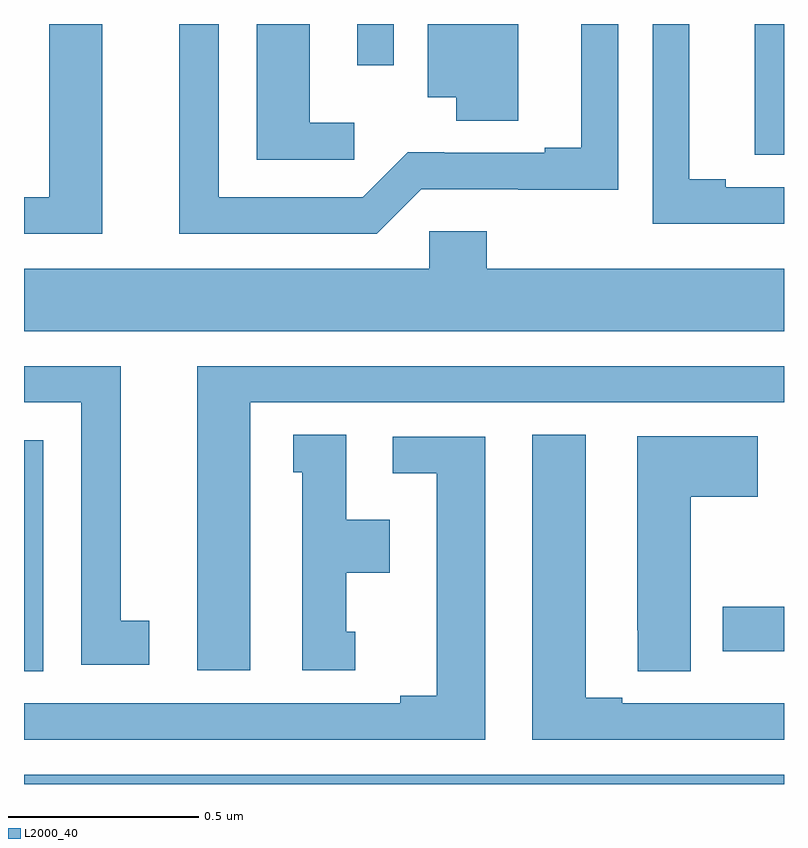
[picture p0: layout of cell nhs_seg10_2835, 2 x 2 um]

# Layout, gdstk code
import gdstk
lib = gdstk.Library(unit=1e-6, precision=1e-09)
def R(c, l, rs):  # rectangles x0, y0, x1, y1
    for r in rs: c.add(gdstk.rectangle(r[:2], r[2:], *l))
def P(c, l, *ps):  # polygons
    for p in ps: c.add(gdstk.Polygon(p, *l))
L2000_40 = (2000, 40)

nhs_seg10_2835 = lib.new_cell('nhs_seg10_2835')
R(nhs_seg10_2835, L2000_40, [(146,1256.5,148,1256.524), (146,1256.797,146.05,1257.405), (147.839,1256.85,148,1256.967), (147.923,1258.156,148,1258.5), (146.877,1258.392,146.973,1258.5)])
P(nhs_seg10_2835, L2000_40, [(147.301,1258.5),(147.062,1258.5),(147.062,1258.307),(147.137,1258.307),(147.137,1258.246),(147.301,1258.246)],
  [(147.045,1258.065),(147.301,1258.065),(147.301,1258.064),(147.564,1258.064),(147.564,1258.5),(147.467,1258.5),(147.467,1258.174),(147.371,1258.174),(147.371,1258.161),(147.106,1258.161),(147.106,1258.162),(147.01,1258.162),(146.892,1258.044),(146.512,1258.044),(146.512,1258.5),(146.408,1258.5),(146.408,1257.948),(146.928,1257.948)],
  [(146.206,1258.5),(146.066,1258.5),(146.066,1258.044),(146,1258.044),(146,1257.948),(146.206,1257.948)],
  [(146.869,1258.24),(146.752,1258.24),(146.752,1258.5),(146.612,1258.5),(146.612,1258.143),(146.869,1258.143)],
  [(148,1258.071),(147.847,1258.071),(147.847,1258.091),(147.751,1258.091),(147.751,1258.5),(147.654,1258.5),(147.654,1257.975),(148,1257.975)],
  [(148,1257.856),(147.218,1257.856),(147.218,1257.954),(147.066,1257.954),(147.066,1257.856),(146,1257.856),(146,1257.692),(148,1257.692)],
  [(146.596,1257.504),(148,1257.504),(148,1257.6),(146.456,1257.6),(146.456,1256.799),(146.596,1256.799)],
  [(146.329,1256.93),(146.254,1256.93),(146.254,1257.6),(146,1257.6),(146,1257.504),(146.15,1257.504),(146.15,1256.814),(146.329,1256.814)],
  [(146.872,1256.901),(146.848,1256.901),(146.848,1257.056),(146.962,1257.056),(146.962,1257.196),(146.848,1257.196),(146.848,1257.419),(146.708,1257.419),(146.708,1257.321),(146.732,1257.321),(146.732,1256.799),(146.872,1256.799)],
  [(148,1256.713),(147.85,1256.713),(147.85,1256.712),(147.574,1256.712),(147.574,1256.727),(147.478,1256.727),(147.478,1257.419),(147.338,1257.419),(147.338,1256.616),(148,1256.616)],
  [(147.754,1257.256),(147.931,1257.256),(147.931,1257.415),(147.614,1257.415),(147.614,1256.905),(147.615,1256.905),(147.615,1256.797),(147.754,1256.797)],
  [(147.214,1257.414),(146.97,1257.414),(146.97,1257.318),(147.086,1257.318),(147.086,1256.732),(146.99,1256.732),(146.99,1256.712),(146,1256.712),(146,1256.616),(147.214,1256.616)])

lib.write_gds('nhs_seg10_2835.gds')
